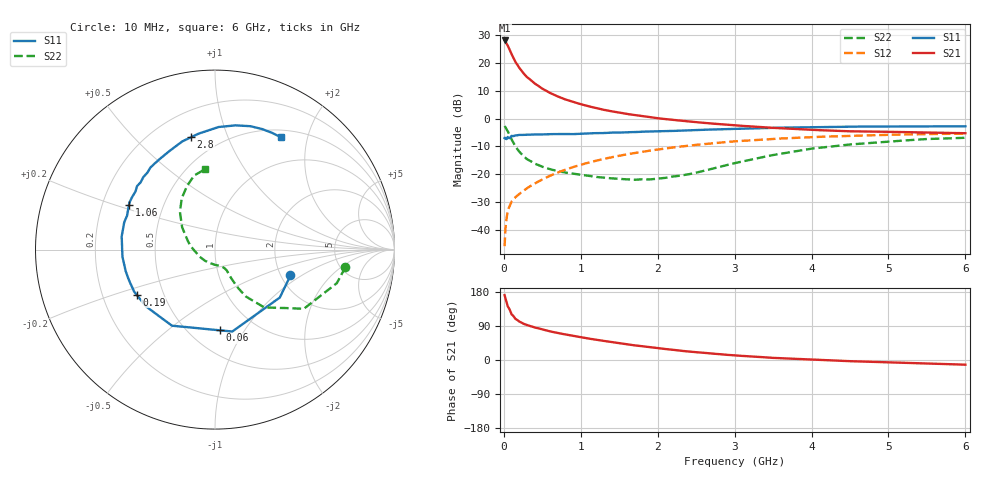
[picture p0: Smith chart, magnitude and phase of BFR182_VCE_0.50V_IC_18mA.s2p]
! Infineon Technologies  Discrete & RF Semiconductors
! BFR182
! VCE = 0.50 V,  IC =  18 mA
! Common Emitter S-Parameters:  Nov 2015
# GHz  S  MA  R  50
!  f  S11  S21  S12  S22
! GHz  MAG  ANG  MAG  ANG  MAG  ANG  MAG  ANG
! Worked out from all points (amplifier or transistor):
!   210 points, 10 MHz to 6 GHz, reference 50 ohm
!   highest |S21| = 28.0 dB at 10 MHz (marker M1)
!   |S21| within 3 dB of that: start of sweep to 69.06 MHz
!   unconditionally stable (mu >= 1): start of sweep to 16.18 MHz; 194.4 MHz to end of sweep
!   at 185 MHz: K = 0.97, MSG = 23.2 dB, |S12| = -27.5 dB
!   at 1.52 GHz: K = 1.35, MAG = 4.1 dB, |S12| = -13.3 dB
!   at 6 GHz: K = 1.12, MAG = -2.0 dB, |S12| = -5.4 dB
!   S11 on the Smith chart (normalised r, x): 10 MHz: 2.25, -0.81; 60 MHz: 0.70, -0.79; 190 MHz: 0.35, -0.24; 1.06 GHz: 0.31, +0.22; 2.8 GHz: 0.35, +0.74; 6 GHz: 0.60, +1.59
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0.01  0.4446 -18.9  25.26 171.1  0.0051 76.5  0.7332 -7.7
0.02  0.4491 -36.5  24.44 162.5  0.0101 75.7  0.7041 -15.4
0.05  0.4665 -78.1  20.54 141.9  0.0217 62.0  0.595 -33.6
0.06  0.4509 -86.3  19.11 138.8  0.0237 60.0  0.5578 -36.0
0.1  0.4871 -119.5  14.25 120.7  0.0321 54.7  0.4227 -49.6
0.15  0.498 -140.5  10.43 108.7  0.0385 52.8  0.3135 -56.6
0.19  0.504 -150.1  8.611 103.2  0.043 54.1  0.2663 -58.3
0.2  0.5077 -152.4  8.172 101.5  0.0441 54.4  0.2546 -58.8
0.24  0.508 -159.1  6.909 97.3  0.0484 55.8  0.2224 -59.6
0.3  0.5119 -166.5  5.566 92.0  0.0558 58.3  0.187 -60.5
0.4  0.5172 -175.6  4.273 85.9  0.0678 61.1  0.1555 -60.4
0.5  0.5177 177.9  3.438 80.6  0.0803 62.8  0.1362 -60.3
0.7  0.5257 167.2  2.495 71.2  0.1071 64.1  0.1135 -63.7
1.02  0.5359 154.1  1.78 59.5  0.1502 62.7  0.0971 -72.0
1.06  0.5397 152.7  1.72 58.1  0.1557 62.4  0.0954 -73.8
1.4  0.56 140.9  1.347 47.5  0.2015 58.9  0.0843 -92.2
2.02  0.5895 122.3  1.005 30.7  0.2799 51.0  0.0838 -133.3
2.8  0.6398 102.2  0.794 15.4  0.3687 39.5  0.1345 173.2
3.1  0.6571 96.0  0.739 10.8  0.3972 34.7  0.1692 158.4
4.1  0.7036 79.2  0.618 0.3  0.4691 20.3  0.2978 130.5
5.1  0.7214 67.6  0.574 -6.6  0.5135 8.0  0.3948 112.0
6  0.7257 59.4  0.545 -12.4  0.5343 -2.7  0.4514 97.1
